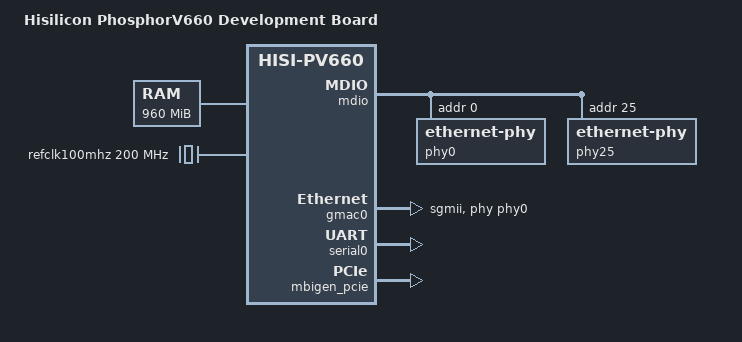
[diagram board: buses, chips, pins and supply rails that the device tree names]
/**
 * dts file for Hisilicon Hi1610
 *
 * Copyright (C) 2014, Hisilicon Ltd.
 *
 * This program is free software; you can redistribute it and/or modify
 * it under the terms of the GNU General Public License version 2 as
 * publishhed by the Free Software Foundation.
 *
 */

/dts-v1/;

/memreserve/ 0x00000000 0x00010000;

/ {
	#address-cells = <2>;
	#size-cells = <2>;
	model = "Hisilicon PhosphorV660 Development Board";
	compatible = "hisilicon,hip05-D02", "hisilicon,hisi-pv660";
	interrupt-parent = <&gic>;

	cpus {
		#address-cells = <1>;
		#size-cells = <0>;

		cpu@10000 {
			device_type = "cpu";
			compatible = "arm,armv8";
			reg = <0x10000>;
			enable-method = "spin-table";
			cpu-release-addr = <0x0 0xfff8>;
		};

		cpu@10001 {
			device_type = "cpu";
			compatible = "arm,armv8";
			reg = <0x10001>;
			enable-method = "spin-table";
			cpu-release-addr = <0x0 0xfff8>;
		};

		cpu@10002 {
			device_type = "cpu";
			compatible = "arm,armv8";
			reg = <0x10002>;
			enable-method = "spin-table";
			cpu-release-addr = <0x0 0xfff8>;
		};

		cpu@10003 {
			device_type = "cpu";
			compatible = "arm,armv8";
			reg = <0x10003>;
			enable-method = "spin-table";
			cpu-release-addr = <0x0 0xfff8>;
		};

		cpu@10100 {
			device_type = "cpu";
			compatible = "arm,armv8";
			reg = <0x10100>;
			enable-method = "spin-table";
			cpu-release-addr = <0x0 0xfff8>;
		};

		cpu@10101 {
			device_type = "cpu";
			compatible = "arm,armv8";
			reg = <0x10101>;
			enable-method = "spin-table";
			cpu-release-addr = <0x0 0xfff8>;
		};

		cpu@10102 {
			device_type = "cpu";
			compatible = "arm,armv8";
			reg = <0x10102>;
			enable-method = "spin-table";
			cpu-release-addr = <0x0 0xfff8>;
		};

		cpu@10103 {
			device_type = "cpu";
			compatible = "arm,armv8";
			reg = <0x10103>;
			enable-method = "spin-table";
			cpu-release-addr = <0x0 0xfff8>;
		};

		cpu@10200 {
			device_type = "cpu";
			compatible = "arm,armv8";
			reg = <0x10200>;
			enable-method = "spin-table";
			cpu-release-addr = <0x0 0xfff8>;
		};

		cpu@10201 {
			device_type = "cpu";
			compatible = "arm,armv8";
			reg = <0x10201>;
			enable-method = "spin-table";
			cpu-release-addr = <0x0 0xfff8>;
		};

		cpu@10202 {
			device_type = "cpu";
			compatible = "arm,armv8";
			reg = <0x10202>;
			enable-method = "spin-table";
			cpu-release-addr = <0x0 0xfff8>;
		};

		cpu@10203 {
			device_type = "cpu";
			compatible = "arm,armv8";
			reg = <0x10203>;
			enable-method = "spin-table";
			cpu-release-addr = <0x0 0xfff8>;
		};

		cpu@10300 {
			device_type = "cpu";
			compatible = "arm,armv8";
			reg = <0x10300>;
			enable-method = "spin-table";
			cpu-release-addr = <0x0 0xfff8>;
		};

		cpu@10301 {
			device_type = "cpu";
			compatible = "arm,armv8";
			reg = <0x10301>;
			enable-method = "spin-table";
			cpu-release-addr = <0x0 0xfff8>;
		};

		cpu@10302 {
			device_type = "cpu";
			compatible = "arm,armv8";
			reg = <0x10302>;
			enable-method = "spin-table";
			cpu-release-addr = <0x0 0xfff8>;
		};

		cpu@10303 {
			device_type = "cpu";
			compatible = "arm,armv8";
			reg = <0x10303>;
			enable-method = "spin-table";
			cpu-release-addr = <0x0 0xfff8>;
		};

		cpu@20000 {
			device_type = "cpu";
			compatible = "arm,armv8";
			reg = <0x20000>;
			enable-method = "spin-table";
			cpu-release-addr = <0x0 0xfff8>;
		};

		cpu@20001 {
			device_type = "cpu";
			compatible = "arm,armv8";
			reg = <0x20001>;
			enable-method = "spin-table";
			cpu-release-addr = <0x0 0xfff8>;
		};

		cpu@20002 {
			device_type = "cpu";
			compatible = "arm,armv8";
			reg = <0x20002>;
			enable-method = "spin-table";
			cpu-release-addr = <0x0 0xfff8>;
		};

		cpu@20003 {
			device_type = "cpu";
			compatible = "arm,armv8";
			reg = <0x20003>;
			enable-method = "spin-table";
			cpu-release-addr = <0x0 0xfff8>;
		};

		cpu@20100 {
			device_type = "cpu";
			compatible = "arm,armv8";
			reg = <0x20100>;
			enable-method = "spin-table";
			cpu-release-addr = <0x0 0xfff8>;
		};

		cpu@20101 {
			device_type = "cpu";
			compatible = "arm,armv8";
			reg = <0x20101>;
			enable-method = "spin-table";
			cpu-release-addr = <0x0 0xfff8>;
		};

		cpu@20102 {
			device_type = "cpu";
			compatible = "arm,armv8";
			reg = <0x20102>;
			enable-method = "spin-table";
			cpu-release-addr = <0x0 0xfff8>;
		};

		cpu@20103 {
			device_type = "cpu";
			compatible = "arm,armv8";
			reg = <0x20103>;
			enable-method = "spin-table";
			cpu-release-addr = <0x0 0xfff8>;
		};

		cpu@20200 {
			device_type = "cpu";
			compatible = "arm,armv8";
			reg = <0x20200>;
			enable-method = "spin-table";
			cpu-release-addr = <0x0 0xfff8>;
		};

		cpu@20201 {
			device_type = "cpu";
			compatible = "arm,armv8";
			reg = <0x20201>;
			enable-method = "spin-table";
			cpu-release-addr = <0x0 0xfff8>;
		};

		cpu@20202 {
			device_type = "cpu";
			compatible = "arm,armv8";
			reg = <0x20202>;
			enable-method = "spin-table";
			cpu-release-addr = <0x0 0xfff8>;
		};

		cpu@20203 {
			device_type = "cpu";
			compatible = "arm,armv8";
			reg = <0x20203>;
			enable-method = "spin-table";
			cpu-release-addr = <0x0 0xfff8>;
		};

		cpu@20300 {
			device_type = "cpu";
			compatible = "arm,armv8";
			reg = <0x20300>;
			enable-method = "spin-table";
			cpu-release-addr = <0x0 0xfff8>;
		};

		cpu@20301 {
			device_type = "cpu";
			compatible = "arm,armv8";
			reg = <0x20301>;
			enable-method = "spin-table";
			cpu-release-addr = <0x0 0xfff8>;
		};

		cpu@20302 {
			device_type = "cpu";
			compatible = "arm,armv8";
			reg = <0x20302>;
			enable-method = "spin-table";
			cpu-release-addr = <0x0 0xfff8>;
		};

		cpu@20303 {
			device_type = "cpu";
			compatible = "arm,armv8";
			reg = <0x20303>;
			enable-method = "spin-table";
			cpu-release-addr = <0x0 0xfff8>;
		};

	};

	memory@0 {
		device_type = "memory";
		reg = <0x0 0x00000000 0x0 0x3c000000>;
	};

	gic: interrupt-controller@6d000000 {
		compatible = "hisilicon,gic-v3";
		#interrupt-cells = <3>;
		#address-cells = <2>;
		#size-cells = <2>;
		ranges;
		interrupt-controller;
		#redistributor-regions = <2>;
		redistributor-stride = <0x0 0x30000>;
		reg = <0x0 0x6d000000 0x0 0x10000>,	/* GICD */
		      <0x0 0x6d100000 0x0 0x300000>,	/* GICR c*/
		      <0x0 0x4d100000 0 0x300000>,	/* GICR a */
		      <0x0 0xfe000000 0x0 0x10000>,	/* GICC */
		      <0x0 0xfe010000 0x0 0x10000>,     /* GICH */
		      <0x0 0xfe020000 0x0 0x10000>;     /* GICV */
		interrupts = <1 9 0xff04>;

		its_dsa: interrupt-controller@0xc6000000 {
			compatible = "arm,gic-v3-its";
			msi-controller;
			reg = <0x0 0xc6000000 0x0 0x1000000>;
		};
	};

	gic1: interrupt-controller@4d000000 {
		compatible = "hisilicon,gic-v3";
		#interrupt-cells = <3>;
		#address-cells = <2>;
		#size-cells = <2>;
		interrupt-controller;
		reg = <0x0 0x4d000000 0x0 0x10000>;
	};

	smmu_pcie {
		compatible = "arm,smmu-v3";
		reg = <0x0 0xa0040000 0x0 0x20000>;
		interrupt-parent  = <&mbigen_pcie>;
		interrupts = <0x40b0c 3 39 7>,
				<0x40b0c 3 40 7>,
				<0x40b0c 3 41 7>;
		interrupt-names = "EVENTQ", "GERROR", "PIRQ";
		smmu-cb-memtype = <0x0 0x1>;
	};

	smmu_dsa {
		compatible = "arm,smmu-v3";
		reg = <0x0 0xc0040000 0x0 0x20000>;
		interrupt-parent  = <&mbigen_dsa>;
		interrupts = <0x40b20 3 76 6>,
				<0x40b20 3 77 6>,
				<0x40b20 3 78 6>;
		interrupt-names = "EVENTQ", "GERROR", "PIRQ";
		smmu-cb-memtype = <0x0 0x1>;
	};


	smmu_alg {
		compatible = "arm,smmu-v3";
		reg = <0x0 0xd0040000 0x0 0x20000>;
		interrupt-parent  = <&mbigen_alg>;
		interrupts = <0x40b1b 3 28 6>,
				<0x40b1b 3 29 6>,
				<0x40b1b 3 30 6>;
		interrupt-names = "EVENTQ", "GERROR", "PIRQ";
		smmu-cb-memtype = <0x0 0x1>;
	};

	timer {
		compatible = "arm,armv8-timer";
		interrupts = <1 13 4>,
			     <1 14 4>,
			     <1 11 4>,
			     <1 10 4>;
	};

	sas: sas@a3000000 {
		compatible = "pv660, sas_controller";
		reg = <0 0xa3000000 0 0x10000>,
		      <0 0xc1000000 0 0x10000>;
		dma-coherent;
	};

	mdio {
		compatible = "hisilicon, hip05-mdio";
		reg = <0x0 0x603c0000 0x0 0x1000>;
		#address-cells = <0x1>;
		#size-cells = <0x0>;

		phy0: ethernet-phy@0 {
			compatile = "ethernet-phy-ieee802.3-c22";
			reg = <0>;
			max-speed = <10>;
		};

		phy25: ethernet-phy@25 {
			compatile = "ethernet-phy-ieee802.3-c22";
			reg = <25>;
			max-speed = <10>;
		};
	};

	ppe: ppe@c2000000 {
		compatible = "hisilicon, hip05-ppe", "syscon";
		reg = <0 0xc2000000 0 0x1000>;
	};

	ge: ge@c2001000 {
		compatible = "hisilicon, hip05-ge", "syscon";
		reg = <0 0xc2001000 0 0x1000>;
	};

	gmac0: ethernet@c2080000 {
		compatible = "hisilicon, hip05-mac";
		#address-cells = <1>;
		#size-cells = <0>;
		reg = <0 0xc2080000 0 0x20000>,
		      <0 0xc0000000 0 0x1000>;
		interrupt-parent  = <&mbigen_dsa>;
		interrupts = <0x40b1c 9 0 6>, /* rx irq */
			     <0x40b1c 9 1 6>; /* tx irq */

		phy-mode = "sgmii";
		mac-address = [11 11 11 11 11 11];
		phy-handle = <&phy0>;
		ppe-handle = <&ppe 0>;
		ge-handle = <&ge 10 1>;
		dma-coherent;
	};

	pmu {
		compatible = "arm,armv8-pmuv3";
		interrupts = <1 7 4>;
	};

	peripherals {
		compatible = "simple-bus";
		#address-cells = <1>;
		#size-cells = <1>;
		ranges = <0x0 0x00000000 0x0 0xffffffff>;

		refclk100mhz: refclk100mhz {
			compatible = "fixed-clock";
			#clock-cells = <0>;
			clock-frequency = <200000000>;
		};

		serial0: uart@60300000 {
			compatible = "snps,dw-apb-uart";
			reg = <0x60300000 0x10000>;
			interrupts = <0 317 4>;
			clocks = <&refclk100mhz>;
			clock-names = "apb_pclk";
			reg-shift = <2>;
		};

		mbigen_dsa: interrupt-controller@c0080000 {
			compatible = "hisilicon,mbigen-v2";
			msi-parent = <&its_dsa>;
			interrupt-controller;
			#interrupt-cells = <4>;
			reg = <0xc0080000 0x10000>;
		};

		mbigen_pcie: interrupt-controller@a0080000 {
			compatible = "hisilicon,mbigen-v2";
			msi-parent = <&its_dsa>;
			interrupt-controller;
			#interrupt-cells = <4>;
			reg = <0xa0080000 0x10000>;
		};

		mbigen_alg: interrupt-controller@d0080000 {
			compatible = "hisilicon,mbigen-v2";
			msi-parent = <&its_dsa>;
			interrupt-controller;
			#interrupt-cells = <4>;
			reg = <0xd0080000 0x10000>;
		};

	};

	chosen {
		bootargs = "rdinit=/init console=ttyS0,115200 earlycon=uart8250,mmio32,0x60300000";
		linux,initrd-start = <0x7000000>;
		linux,initrd-end = <0xa000000>;
	};
};
